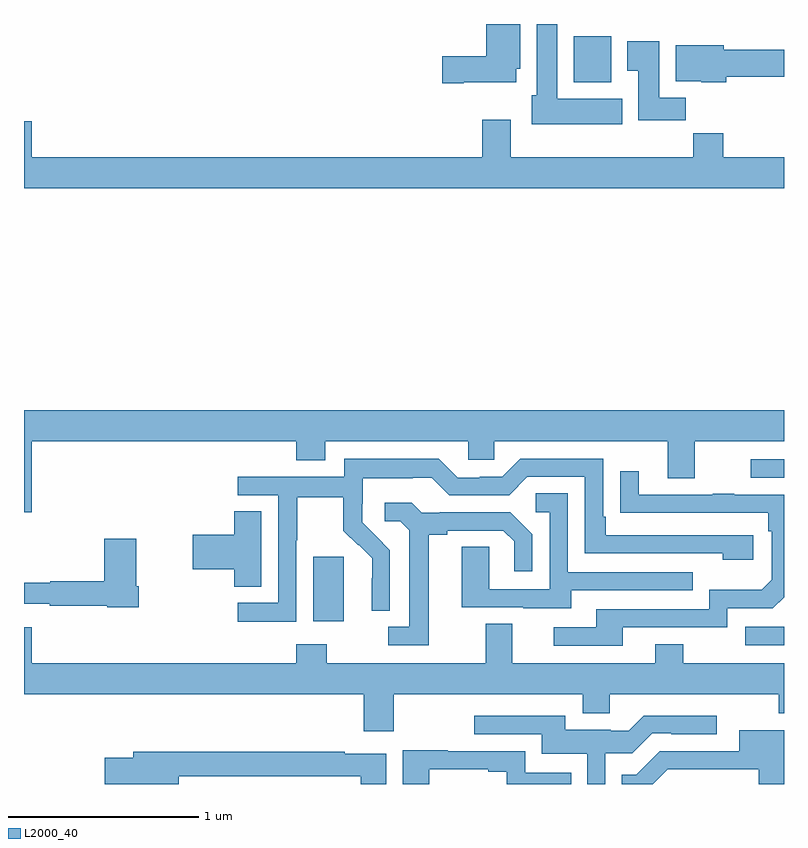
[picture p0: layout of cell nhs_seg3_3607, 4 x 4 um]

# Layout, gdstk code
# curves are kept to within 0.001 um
import gdstk
lib = gdstk.Library(unit=1e-6, precision=1e-09)
def R(c, l, rs):  # rectangles x0, y0, x1, y1
    for r in rs: c.add(gdstk.rectangle(r[:2], r[2:], *l))
def P(c, l, *ps):  # polygons
    for p in ps: c.add(gdstk.Polygon(p, *l))
L2000_40 = (2000, 40)

nhs_seg3_3607 = lib.new_cell('nhs_seg3_3607')
R(nhs_seg3_3607, L2000_40, [(300.795,745.131,301,745.227), (298.523,745.257,298.684,745.597), (300.825,746.013,301,746.109), (299.894,748.094,300.091,748.336)])
P(nhs_seg3_3607, L2000_40, [(300.148,748.006),(299.806,748.006),(299.806,748.4),(299.699,748.4),(299.699,748.026),(299.672,748.026),(299.672,747.872),(300.148,747.872)],
  [(299.314,748.094),(299.59,748.094),(299.59,748.164),(299.611,748.164),(299.611,748.4),(299.432,748.4),(299.432,748.229),(299.202,748.229),(299.202,748.087),(299.314,748.087)],
  [(300.482,748.012),(300.343,748.012),(300.343,748.309),(300.176,748.309),(300.176,748.153),(300.233,748.153),(300.233,747.894),(300.482,747.894)],
  [(300.695,748.123),(301,748.123),(301,748.265),(300.682,748.265),(300.682,748.288),(300.431,748.288),(300.431,748.1),(300.564,748.1),(300.564,748.094),(300.695,748.094)],
  [(301,747.7),(300.68,747.7),(300.68,747.824),(300.523,747.824),(300.523,747.7),(299.563,747.7),(299.563,747.895),(299.411,747.895),(299.411,747.7),(297.04,747.7),(297.04,747.889),(297,747.889),(297,747.536),(301,747.536)],
  [(297.04,746.204),(298.433,746.204),(298.433,746.105),(298.585,746.105),(298.585,746.204),(299.337,746.204),(299.337,746.106),(299.475,746.106),(299.475,746.204),(300.389,746.204),(300.389,746.01),(300.529,746.01),(300.529,746.204),(301,746.204),(301,746.368),(297,746.368),(297,745.83),(297.04,745.83)],
  [(298.434,745.684),(298.437,745.684),(298.437,745.908),(298.681,745.908),(298.681,745.733),(298.758,745.656),(298.761,745.659),(298.832,745.589),(298.832,745.484),(298.829,745.484),(298.829,745.312),(298.926,745.312),(298.926,745.63),(298.78,745.778),(298.78,745.875),(298.782,745.875),(298.782,746.009),(299.045,746.009),(299.045,746.013),(299.145,746.013),(299.238,745.92),(299.553,745.92),(299.649,746.016),(299.952,746.016),(299.952,745.614),(300.677,745.614),(300.677,745.58),(300.838,745.58),(300.838,745.71),(300.061,745.71),(300.061,745.807),(300.048,745.807),(300.048,746.112),(299.613,746.112),(299.517,746.016),(299.399,746.016),(299.399,746.013),(299.283,746.013),(299.183,746.113),(298.686,746.113),(298.686,746.016),(298.125,746.016),(298.125,745.92),(298.338,745.92),(298.338,745.353),(298.125,745.353),(298.125,745.255),(298.434,745.255)],
  [(300.151,745.224),(300.702,745.224),(300.702,745.326),(300.942,745.326),(301,745.384),(301,745.923),(300.737,745.923),(300.737,745.928),(300.625,745.928),(300.625,745.923),(300.235,745.923),(300.235,746.047),(300.139,746.047),(300.139,745.828),(300.916,745.827),(300.916,745.73),(300.936,745.73),(300.936,745.476),(300.883,745.423),(300.606,745.423),(300.606,745.32),(300.011,745.32),(300.011,745.224),(299.787,745.224),(299.787,745.128),(300.151,745.128)],
  [(299.881,745.419),(300.521,745.419),(300.521,745.515),(299.862,745.515),(299.862,745.931),(299.694,745.931),(299.694,745.83),(299.766,745.83),(299.766,745.425),(299.448,745.425),(299.448,745.649),(299.303,745.649),(299.303,745.329),(299.627,745.329),(299.627,745.325),(299.881,745.325)],
  [(299.131,745.712),(299.227,745.712),(299.227,745.734),(299.522,745.734),(299.579,745.677),(299.579,745.521),(299.676,745.521),(299.676,745.714),(299.56,745.83),(299.188,745.83),(299.188,745.827),(299.094,745.827),(299.042,745.879),(298.899,745.879),(298.899,745.782),(298.98,745.782),(299.027,745.735),(299.027,745.227),(298.917,745.227),(298.917,745.131),(299.131,745.131)],
  [(298.249,745.835),(298.106,745.835),(298.106,745.712),(297.888,745.712),(297.888,745.529),(298.106,745.529),(298.106,745.438),(298.249,745.438)],
  [(297.605,745.441),(297.592,745.441),(297.592,745.69),(297.422,745.69),(297.422,745.466),(297.138,745.466),(297.138,745.459),(297,745.459),(297,745.35),(297.136,745.35),(297.136,745.338),(297.438,745.338),(297.438,745.33),(297.605,745.33)],
  [(298.947,744.872),(299.942,744.872),(299.942,744.773),(300.082,744.773),(300.082,744.872),(300.973,744.872),(300.973,744.773),(301,744.773),(301,745.036),(300.471,745.036),(300.471,745.135),(300.323,745.135),(300.323,745.036),(299.569,745.036),(299.569,745.244),(299.429,745.244),(299.429,745.036),(298.593,745.036),(298.593,745.135),(298.433,745.135),(298.433,745.036),(297.04,745.036),(297.04,745.225),(297,745.225),(297,744.872),(298.787,744.872),(298.787,744.678),(298.947,744.678)],
  [(300.06,744.561),(300.201,744.561),(300.306,744.666),(300.406,744.666),(300.406,744.663),(300.646,744.663),(300.646,744.76),(300.262,744.76),(300.183,744.681),(300.089,744.681),(300.089,744.685),(299.848,744.685),(299.848,744.759),(299.37,744.759),(299.37,744.663),(299.726,744.663),(299.726,744.56),(299.964,744.56),(299.964,744.4),(300.06,744.4)],
  [(300.387,744.477),(300.866,744.477),(300.866,744.4),(301,744.4),(301,744.682),(300.764,744.682),(300.764,744.573),(300.347,744.573),(300.222,744.448),(300.145,744.448),(300.145,744.4),(300.31,744.4)],
  [(299.133,744.477),(299.444,744.477),(299.444,744.465),(299.541,744.465),(299.541,744.4),(299.879,744.4),(299.879,744.46),(299.637,744.46),(299.637,744.573),(299.23,744.573),(299.23,744.578),(298.994,744.578),(298.994,744.4),(299.133,744.4)],
  [(297.814,744.442),(298.772,744.442),(298.772,744.4),(298.906,744.4),(298.906,744.558),(298.688,744.558),(298.688,744.571),(297.575,744.571),(297.575,744.537),(297.426,744.537),(297.426,744.4),(297.814,744.4)])

lib.write_gds('nhs_seg3_3607.gds')
